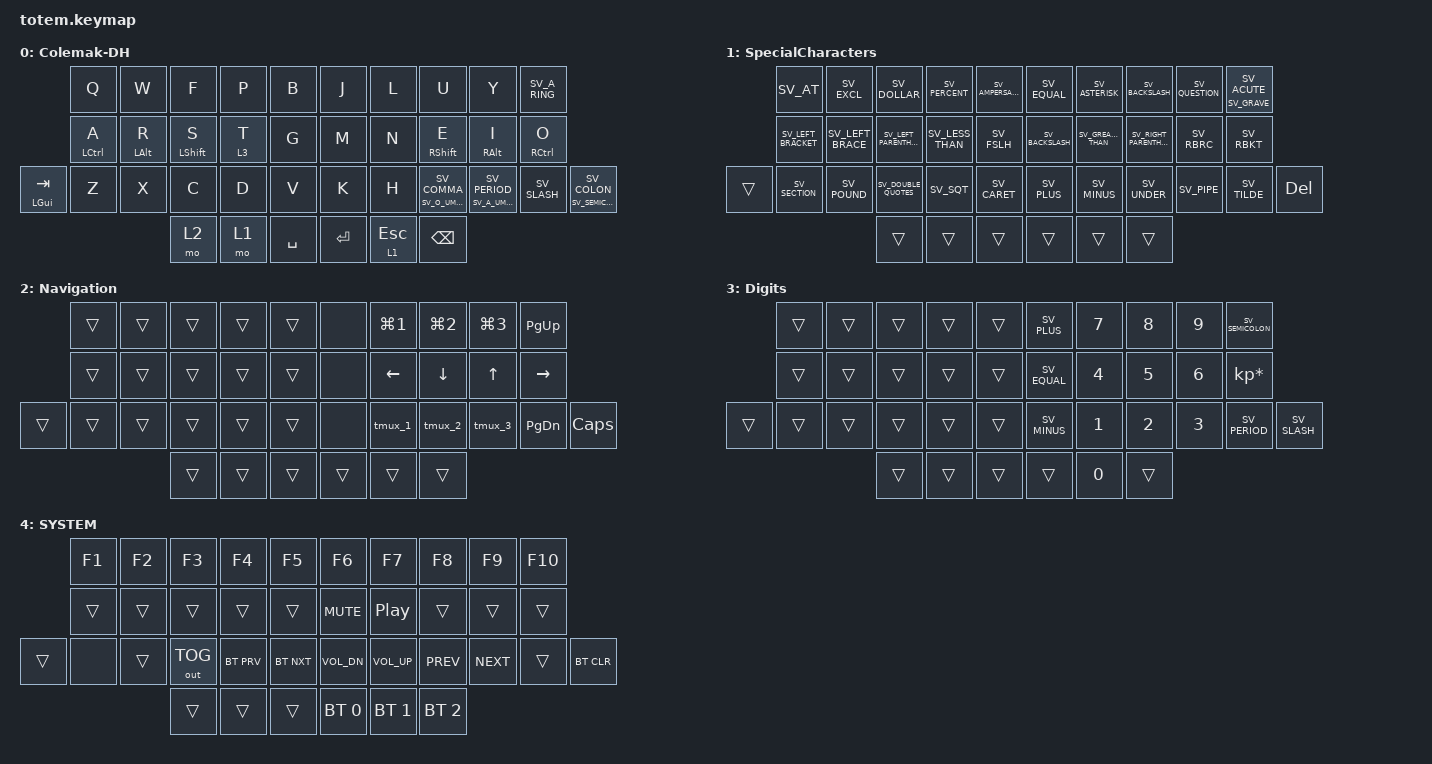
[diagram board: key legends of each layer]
//
//                                                        ▀▀▀▀▀     ▀▀▀▀▀          ▀▀█▀▀
//                                                        ▄▀▀▀▄  ▄  ▄▀▀▀▄  ▄  ▄▀▀▀▄  █  ▄▀▀▀▄
//                                                        █   █  █  █   █  █  █   █  █  █   █
//                                                         ▀▀▀   █   ▀▀▀   █   ▀▀▀   ▀   ▀▀▀
//                                                               █      ▄▄▄█▄▄▄    █   █
//                                                               ▀      █  █  █     █▄█
//                                                             ▀▀▀▀▀    █  █  █      ▀
//                                                                      ▀  ▀  ▀
//
// ▄▄▄▄▄▄▄▄▄▄▄▄▄▄▄▄▄▄▄▄▄▄▄▄▄▄▄▄▄▄▄▄▄▄▄▄▄▄▄▄▄▄▄▄▄▄▄▄▄▄▄▄▄▄▄▄▄▄▄▄▄▄▄▄▄▄▄▄▄▄▄▄▄▄▄▄▄▄▄▄▄▄▄▄▄▄▄▄▄▄▄▄▄▄▄▄▄▄▄▄▄▄▄▄▄▄▄▄▄▄▄▄▄▄▄▄▄▄▄▄▄▄▄▄▄▄▄▄▄▄▄▄▄▄▄▄▄▄▄▄▄▄▄▄▄▄▄▄▄

#include "zmk-helpers/helper.h"
#include "zmk-helpers/key-labels/totem.h"
#include "keys_sv.h"
#include <behaviors.dtsi>
#include <dt-bindings/zmk/bt.h>
#include <dt-bindings/zmk/keys.h>
#include <dt-bindings/zmk/outputs.h>

#define BASE 0
#define NAV  1
#define DIG  2
#define SYS  3
#define QUICK_TAP_MS 175

/* Timeless homerow mods */
// https://github.com/urob/zmk-config/tree/main#timeless-homerow-mods

#define KEYS_L LT0 LT1 LT2 LT3 LT4 LM0 LM1 LM2 LM3 LM4 LB0 LB1 LB2 LB3 LB4 LB5  // left hand
#define KEYS_R RT0 RT1 RT2 RT3 RT4 RM0 RM1 RM2 RM3 RM4 RB0 RB1 RB2 RB3 RB4 RB5  // right hand
#define THUMBS LH2 LH1 LH0 RH0 RH1 RH2 // thumb cluster for both hands

// proper urob's home row, uncomment it if you are not going to use visual editor
//#define MAKE_HRM(NAME, HOLD, TAP, TRIGGER_POS) \
//    ZMK_HOLD_TAP(NAME, \
//        flavor = "balanced"; \
//        tapping-term-ms = <280>; \
//        quick-tap-ms = <QUICK_TAP_MS>; \
//        require-prior-idle-ms = <150>; \
//        bindings = <HOLD>, <TAP>; \
//        hold-trigger-key-positions = <TRIGGER_POS>; \
//        hold-trigger-on-release; \
//    )
//
//MAKE_HRM(hml, &kp, &kp, KEYS_R THUMBS)  // left-hand HRMs
//MAKE_HRM(hmr, &kp, &kp, KEYS_L THUMBS)  // right-hand HRMs
//MAKE_HRM(hml_layer, &mo, &kp, KEYS_R THUMBS) // switch layer like HRM

&mt {
    global-quick-tap;
    flavor = "balanced";
    tapping-term-ms = <120>;
    require-prior-idle-ms = <35>;
};

&lt {
    require-prior-idle-ms = <35>;
    flavor = "balanced";
};

/ {
    combos {
        compatible = "zmk,combos";

        layer_4 {
            bindings = <&mo 4>;
            key-positions = <20 21>;
        };
    };

    macros {
        /**
         * Temporarily switches to a layer (`&mo`) while a modifier is held.
         * Analogous to QMK's `LM()`, using a parameterized macro.
         *
         * Params:
         *  1. Layer to switch to
         *  2. Modifier to press while layer is active
         *
         * Example:
         *  `&lm NUM_LAYER LSHIFT`
         */

        tmux_1: tmux_1 {
            compatible = "zmk,behavior-macro";
            #binding-cells = <0>;
            bindings = <&kp LC(B) &kp SV_N1>, <&macro_tap>;

            label = "TMUX_1";
        };

        tmux_2: tmux_2 {
            compatible = "zmk,behavior-macro";
            #binding-cells = <0>;
            bindings = <&kp LC(B) &kp SV_N2>, <&macro_tap>;

            label = "TMUX_2";
        };

        tmux_3: tmux_3 {
            compatible = "zmk,behavior-macro";
            #binding-cells = <0>;
            bindings = <&kp LC(B) &kp SV_N3>, <&macro_tap>;

            label = "TMUX_3";
        };
    };

    behaviors {
        // this is homerow mod that works identical to urob's one, but this one allows visual editor to understand

        hml: hml {
            compatible = "zmk,behavior-hold-tap";
            label = "HML";
            bindings = <&kp>, <&kp>;

            #binding-cells = <2>;
            tapping-term-ms = <220>;
            flavor = "balanced";
            hold-trigger-key-positions = <KEYS_R THUMBS 12 10>;
            require-prior-idle-ms = <130>;
            hold-trigger-on-release;
        };

        hmr: hmr {
            compatible = "zmk,behavior-hold-tap";
            label = "HMR";
            bindings = <&kp>, <&kp>;

            #binding-cells = <2>;
            tapping-term-ms = <220>;
            flavor = "balanced";
            hold-trigger-key-positions = <KEYS_L THUMBS 17 19>;
            require-prior-idle-ms = <130>;
            hold-trigger-on-release;
        };

        hold_shift: hold_shift {
            compatible = "zmk,behavior-hold-tap";
            label = "HOLD_SHIFT";
            bindings = <&kp>, <&kp>;

            #binding-cells = <2>;
            flavor = "balanced";
            tapping-term-ms = <150>;
            hold-trigger-key-positions = <12 17>;
            require-prior-idle-ms = <40>;
            hold-trigger-on-release;
        };
    };

    keymap {
        compatible = "zmk,keymap";

        Colemak-DH {
            bindings = <
              &kp Q         &kp W            &kp F                     &kp P    &kp B        &kp J      &kp L         &kp U                      &kp Y                      &kp SV_A_RING
              &hml LCTRL A  &hml LEFT_ALT R  &hold_shift LEFT_SHIFT S  &lt 3 T  &kp G        &kp M      &kp N         &hold_shift RIGHT_SHIFT E  &hmr RIGHT_ALT I           &hmr RCTRL O
&mt LGUI TAB  &kp Z         &kp X            &kp C                     &kp D    &kp V        &kp K      &kp H         &mt SV_O_UMLAUT SV_COMMA   &mt SV_A_UMLAUT SV_PERIOD  &kp SV_SLASH   &mt SV_SEMICOLON SV_COLON
                                             &mo 2                     &mo 1    &kp SPACE    &kp ENTER  &lt 1 ESCAPE  &kp BACKSPACE
            >;
        };

        SpecialCharacters {
            bindings = <
        &kp SV_AT            &kp SV_EXCL        &kp SV_DOLLAR            &kp SV_PERCENT    &kp SV_AMPERSAND    &kp SV_EQUAL      &kp SV_ASTERISK      &kp SV_BACKSLASH          &kp SV_QUESTION  &hmr SV_GRAVE SV_ACUTE
        &kp SV_LEFT_BRACKET  &kp SV_LEFT_BRACE  &kp SV_LEFT_PARENTHESIS  &kp SV_LESS_THAN  &kp SV_FSLH         &kp SV_BACKSLASH  &kp SV_GREATER_THAN  &kp SV_RIGHT_PARENTHESIS  &kp SV_RBRC      &kp SV_RBKT
&trans  &kp SV_SECTION       &kp SV_POUND       &kp SV_DOUBLE_QUOTES     &kp SV_SQT        &kp SV_CARET        &kp SV_PLUS       &kp SV_MINUS         &kp SV_UNDER              &kp SV_PIPE      &kp SV_TILDE            &kp DELETE
                                                &trans                   &trans            &trans              &trans            &trans               &trans
            >;
        };

        Navigation {
            label = "Navigation";
            bindings = <
        &trans  &trans  &trans  &trans  &trans    &none   &kp LG(NUMBER_1)  &kp LG(NUMBER_2)  &kp LG(NUMBER_3)  &kp PAGE_UP
        &trans  &trans  &trans  &trans  &trans    &none   &kp LEFT          &kp DOWN          &kp UP            &kp RIGHT
&trans  &trans  &trans  &trans  &trans  &trans    &none   &tmux_1           &tmux_2           &tmux_3           &kp PAGE_DOWN  &kp CAPSLOCK
                        &trans  &trans  &trans    &trans  &trans            &trans
            >;
        };

        Digits {
            label = "Digits";
            bindings = <
        &trans  &trans  &trans  &trans  &trans    &kp SV_PLUS   &kp N7  &kp N8  &kp N9  &kp SV_SEMICOLON
        &trans  &trans  &trans  &trans  &trans    &kp SV_EQUAL  &kp N4  &kp N5  &kp N6  &kp KP_MULTIPLY
&trans  &trans  &trans  &trans  &trans  &trans    &kp SV_MINUS  &kp N1  &kp N2  &kp N3  &kp SV_PERIOD     &kp SV_SLASH
                        &trans  &trans  &trans    &trans        &kp N0  &trans
            >;
        };

        SimLayer {
            label = "SYSTEM";
            bindings = <
        &kp F1  &kp F2  &kp F3        &kp F4      &kp F5        &kp F6        &kp F7        &kp F8        &kp F9      &kp F10
        &trans  &trans  &trans        &trans      &trans        &kp C_MUTE    &kp C_PP      &trans        &trans      &trans
&trans  &none   &trans  &out OUT_TOG  &bt BT_PRV  &bt BT_NXT    &kp C_VOL_DN  &kp C_VOL_UP  &kp C_PREV    &kp C_NEXT  &trans   &bt BT_CLR
                        &trans        &trans      &trans        &bt BT_SEL 0  &bt BT_SEL 1  &bt BT_SEL 2
            >;
        };
    };
};
